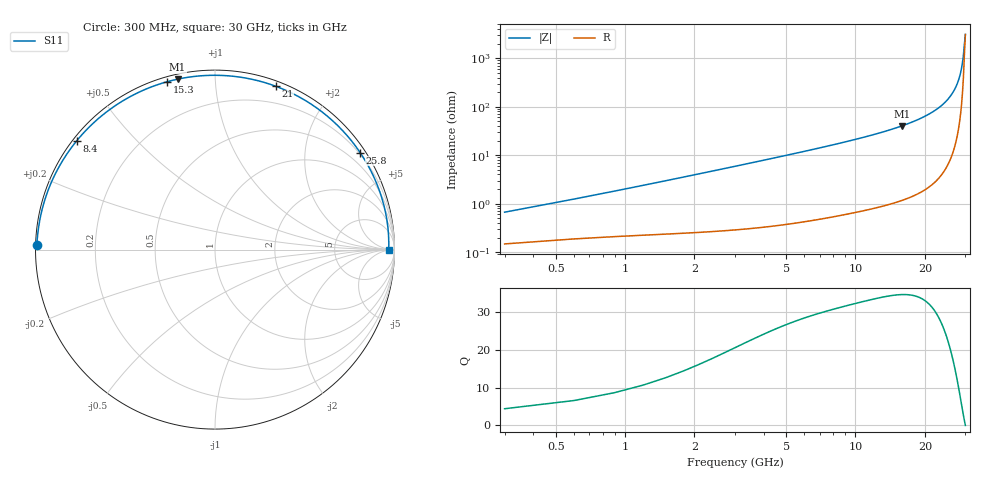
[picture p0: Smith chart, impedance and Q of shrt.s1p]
! Created Thu Feb 13 09:00:25 2025
! List of port names and net name(s): example Port n = <port_name> <net_name1> <net_name2> ...
! Port 1 = P1 P2 P2 P2
# hz S ma R 50
! 1 Port Network Data from data block
! freq  magS11  angS11
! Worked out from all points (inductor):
!   100 points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, 300 MHz to 30 GHz, reference 50 ohm
!   read as one part to ground: L = 326 pH near 300 MHz
!   highest Q = 34.5 at 15.9 GHz (marker M1), where L = 402 pH
!   self-resonance near 29.7 GHz
!   S11 on the Smith chart (normalised r, x): 300 MHz: 0.00, +0.01; 8.4 GHz: 0.01, +0.35; 15.3 GHz: 0.02, +0.75; 21 GHz: 0.05, +1.44; 25.8 GHz: 0.16, +3.28; 30 GHz: 62, -1
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3e8  0.9941 178.5
2.4e9  0.9895 169.2
4.2e9  0.987 161.2
6e9  0.9841 153.0
7.8e9  0.9812 144.7
8.4e9  0.9802 141.8
1.02e10  0.9776 133.1
1.17e10  0.9758 125.5
1.35e10  0.9739 116.0
1.44e10  0.9731 111.0
1.53e10  0.9725 105.9
1.59e10  0.9721 102.4
1.74e10  0.9714 93.3
1.83e10  0.9711 87.7
1.89e10  0.971 83.8
2.01e10  0.9709 75.8
2.1e10  0.971 69.6
2.19e10  0.9712 63.3
2.28e10  0.9714 56.7
2.34e10  0.9717 52.3
2.43e10  0.972 45.4
2.49e10  0.9723 40.8
2.58e10  0.9727 33.8
2.64e10  0.9729 29.0
2.73e10  0.9731 21.8
2.82e10  0.9727 14.5
2.91e10  0.9711 7.2
3e10  0.9682 -0.0
